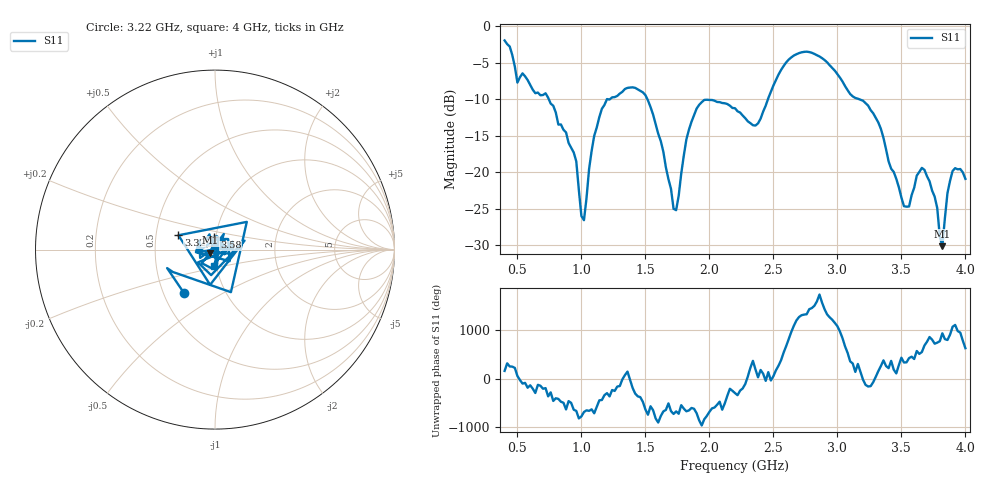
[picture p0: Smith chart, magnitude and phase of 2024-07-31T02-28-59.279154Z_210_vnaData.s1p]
!Created with skrf (http://scikit-rf.org).
# Hz S RI R 50.0
!freq ReS11 ImS11
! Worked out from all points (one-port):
!   181 points, 400 MHz to 4 GHz, reference 50 ohm
!   lowest |S11| = -30.1 dB at 3.82 GHz (marker M1), VSWR 1.06, Z = 47.4 - j1.6 ohm
!   |S11| at or under -10 dB: 745.1 MHz to 1.2 GHz (454.4 MHz wide, 46.7 % of centre); 1.515 GHz to 2.457 GHz (941.9 MHz wide, 47.4 % of centre); 3.169 GHz to end of sweep (the widest 3 of 4)
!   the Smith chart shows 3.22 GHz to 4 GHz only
!   S11 on the Smith chart (normalised r, x): 3.22 GHz: 0.64, -0.34; 3.32 GHz: 0.65, +0.11; 3.58 GHz: 0.98, +0.14; 4 GHz: 0.97, -0.18
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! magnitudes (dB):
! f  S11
! 400 MHz  -2.0
! 500 MHz  -7.7
! 720 MHz  -9.2
! 860 MHz  -14.2
! 960 MHz  -18.5
! 1.02 GHz  -26.5
! 1.08 GHz  -17.1
! 1.14 GHz  -12.4
! 1.3 GHz  -9.2
! 1.5 GHz  -9.4
! 1.72 GHz  -25.0
! 1.76 GHz  -23.2
! 1.82 GHz  -15.5
! 1.9 GHz  -11.3
! 2.2 GHz  -11.2
! 2.38 GHz  -13.3
! 2.66 GHz  -4.0
! 2.88 GHz  -4.4
! 3.1 GHz  -9.3
! 3.22 GHz  -10.5
! 3.32 GHz  -13.2
! 3.56 GHz  -24.7
! 3.58 GHz  -23.1
! 3.68 GHz  -19.7
! 3.76 GHz  -23.3
! 3.82 GHz  -30.1
! 3.9 GHz  -19.8
! 4 GHz  -20.9
